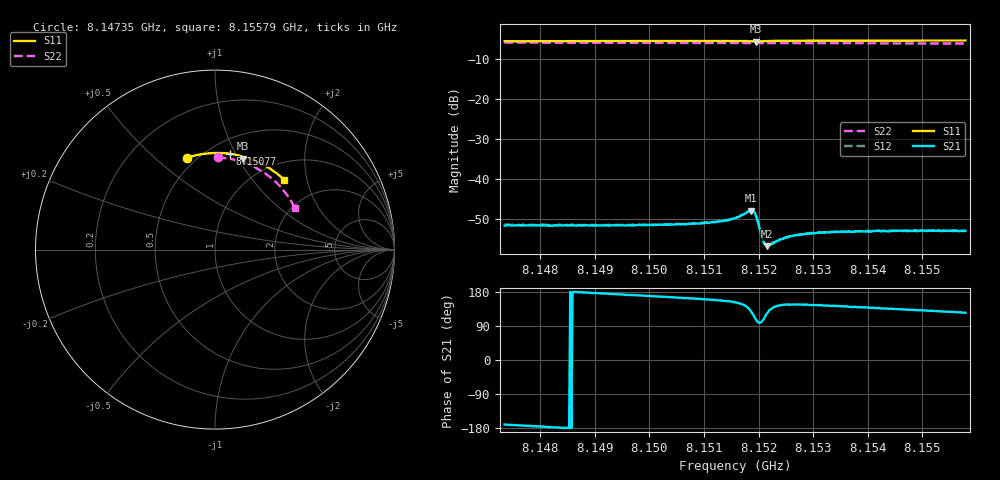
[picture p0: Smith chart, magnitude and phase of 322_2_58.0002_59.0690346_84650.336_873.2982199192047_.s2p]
#  HZ  S  RI  R  50.00
! Rohde & Schwarz Vector Network Analyzer
! Rohde-Schwarz,ZNB20-2Port,1311601062101988,3.16
! Created: UTC 3/21/2024, 1:04:44 AM
! freq[Hz]  re:S11  im:S11  re:S21  im:S21  re:S12  im:S12  re:S22  im:S22
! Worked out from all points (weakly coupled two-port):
!   401 points, 8.14735 GHz to 8.15579 GHz, reference 50 ohm
!   highest |S21| = -47.87 dB at 8.15186 GHz (marker M1); lowest = -56.8 dB at 8.15216 GHz (marker M2)
!   lowest |S11| = -5.5 dB at 8.15195 GHz (marker M3), VSWR 3.26, Z = 37.2 + j52.4 ohm
!   |S11| at or under -10 dB: nowhere
!   |S22| runs from -6.0 to -5.8 dB; largest |S21 - S12| = 0.00012
!   S11 on the Smith chart (normalised r, x): 8.14735 GHz: 0.45, +0.64; 8.15077 GHz: 0.63, +0.95; 8.15579 GHz: 1.33, +1.47
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8.147349e9  -0.1538 0.512  -0.00257 -0.000453  -0.00266 -0.000405  0.0151 0.5135
8.148763e9  -0.0576 0.5341  -0.00261 5.46e-05  -0.00267 0.000127  0.1064 0.5009
8.150176e9  0.0407 0.538  -0.00262 0.000591  -0.00265 0.000648  0.1933 0.4723
8.150767e9  0.0819 0.5344  -0.00262 0.000831  -0.00265 0.000883  0.2276 0.4557
8.15121e9  0.1129 0.529  -0.00269 0.00106  -0.00271 0.00114  0.2524 0.4419
8.151421e9  0.1279 0.5257  -0.00276 0.00128  -0.00278 0.00132  0.2638 0.4347
8.151569e9  0.1384 0.5228  -0.00288 0.00151  -0.00287 0.00155  0.2719 0.4296
8.151864e9  0.1583 0.51  -0.00247 0.00319  -0.00247 0.00326  0.2873 0.4185
8.151906e9  0.1586 0.5072  -0.0019 0.00349  -0.00184 0.00351  0.2891 0.4168
8.151949e9  0.1574 0.5062  -0.00107 0.00338  -0.00101 0.00342  0.2913 0.4153
8.151991e9  0.157 0.5076  -0.000492 0.00283  -0.000438 0.00285  0.2933 0.4138
8.152075e9  0.1612 0.5112  -0.000428 0.0017  -0.000402 0.00173  0.2977 0.4108
8.152117e9  0.1646 0.512  -0.000625 0.00138  -0.000574 0.00141  0.2999 0.4092
8.152159e9  0.1682 0.5121  -0.000797 0.00121  -0.000811 0.00122  0.302 0.4077
8.152202e9  0.1716 0.5119  -0.000987 0.0011  -0.000972 0.00116  0.3042 0.406
8.152349e9  0.1831 0.5097  -0.00134 0.00103  -0.00133 0.00102  0.3116 0.4002
8.152539e9  0.1965 0.5057  -0.00157 0.00102  -0.00157 0.00108  0.3208 0.3923
8.152687e9  0.2066 0.5022  -0.00166 0.0011  -0.00166 0.00112  0.328 0.3862
8.152982e9  0.226 0.4945  -0.00171 0.00119  -0.00172 0.00122  0.3417 0.3734
8.153383e9  0.2515 0.4827  -0.00176 0.00131  -0.00169 0.00134  0.3596 0.3553
8.154396e9  0.3122 0.4477  -0.00155 0.00157  -0.00162 0.00159  0.4001 0.3061
8.155788e9  0.3868 0.3875  -0.00128 0.00185  -0.00127 0.00187  0.4449 0.2314
